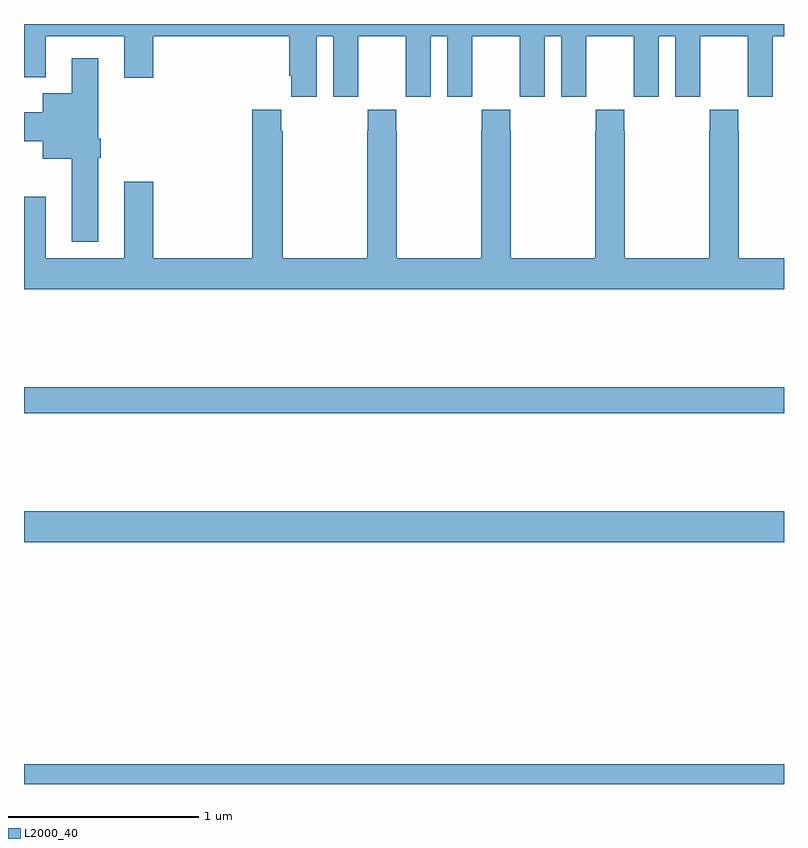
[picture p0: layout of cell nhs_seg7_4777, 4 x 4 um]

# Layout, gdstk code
import gdstk
lib = gdstk.Library(unit=1e-6, precision=1e-09)
def R(c, l, rs):  # rectangles x0, y0, x1, y1
    for r in rs: c.add(gdstk.rectangle(r[:2], r[2:], *l))
def P(c, l, *ps):  # polygons
    for p in ps: c.add(gdstk.Polygon(p, *l))
L2000_40 = (2000, 40)

nhs_seg7_4777 = lib.new_cell('nhs_seg7_4777')
R(nhs_seg7_4777, L2000_40, [(411,1010,415,1010.104), (411,1011.272,415,1011.436), (411,1011.952,415,1012.088)])
P(nhs_seg7_4777, L2000_40, [(412.54,1013.936),(412.628,1013.936),(412.628,1013.616),(412.758,1013.616),(412.758,1013.728),(412.759,1013.728),(412.759,1013.936),(413.009,1013.936),(413.009,1013.728),(413.01,1013.728),(413.01,1013.616),(413.14,1013.616),(413.14,1013.936),(413.228,1013.936),(413.228,1013.616),(413.358,1013.616),(413.358,1013.728),(413.359,1013.728),(413.359,1013.936),(413.609,1013.936),(413.609,1013.728),(413.61,1013.728),(413.61,1013.616),(413.74,1013.616),(413.74,1013.936),(413.828,1013.936),(413.828,1013.616),(413.958,1013.616),(413.958,1013.728),(413.959,1013.728),(413.959,1013.936),(414.209,1013.936),(414.209,1013.728),(414.21,1013.728),(414.21,1013.616),(414.34,1013.616),(414.34,1013.936),(414.428,1013.936),(414.428,1013.616),(414.558,1013.616),(414.558,1013.728),(414.559,1013.728),(414.559,1013.936),(414.809,1013.936),(414.809,1013.728),(414.81,1013.728),(414.81,1013.616),(414.94,1013.616),(414.94,1013.936),(415,1013.936),(415,1014),(411,1014),(411,1013.72),(411.115,1013.72),(411.115,1013.936),(411.527,1013.936),(411.527,1013.718),(411.68,1013.718),(411.68,1013.936),(412.397,1013.936),(412.397,1013.728),(412.406,1013.728),(412.406,1013.616),(412.54,1013.616)],
  [(411.391,1013.295),(411.404,1013.295),(411.404,1013.395),(411.391,1013.395),(411.391,1013.821),(411.251,1013.821),(411.251,1013.635),(411.098,1013.635),(411.098,1013.536),(411,1013.536),(411,1013.384),(411.098,1013.384),(411.098,1013.291),(411.251,1013.291),(411.251,1012.853),(411.391,1012.853)],
  [(415,1012.768),(414.762,1012.768),(414.762,1013.435),(414.759,1013.435),(414.759,1013.548),(414.609,1013.548),(414.609,1013.435),(414.607,1013.435),(414.607,1012.768),(414.162,1012.768),(414.162,1013.435),(414.159,1013.435),(414.159,1013.548),(414.009,1013.548),(414.009,1013.435),(414.007,1013.435),(414.007,1012.768),(413.562,1012.768),(413.562,1013.435),(413.559,1013.435),(413.559,1013.548),(413.409,1013.548),(413.409,1013.435),(413.407,1013.435),(413.407,1012.768),(412.962,1012.768),(412.962,1013.435),(412.959,1013.435),(412.959,1013.548),(412.809,1013.548),(412.809,1013.435),(412.807,1013.435),(412.807,1012.768),(412.362,1012.768),(412.362,1013.435),(412.355,1013.435),(412.355,1013.548),(412.202,1013.548),(412.202,1012.768),(411.68,1012.768),(411.68,1013.17),(411.527,1013.17),(411.527,1012.768),(411.115,1012.768),(411.115,1013.092),(411,1013.092),(411,1012.604),(415,1012.604)])

lib.write_gds('nhs_seg7_4777.gds')
